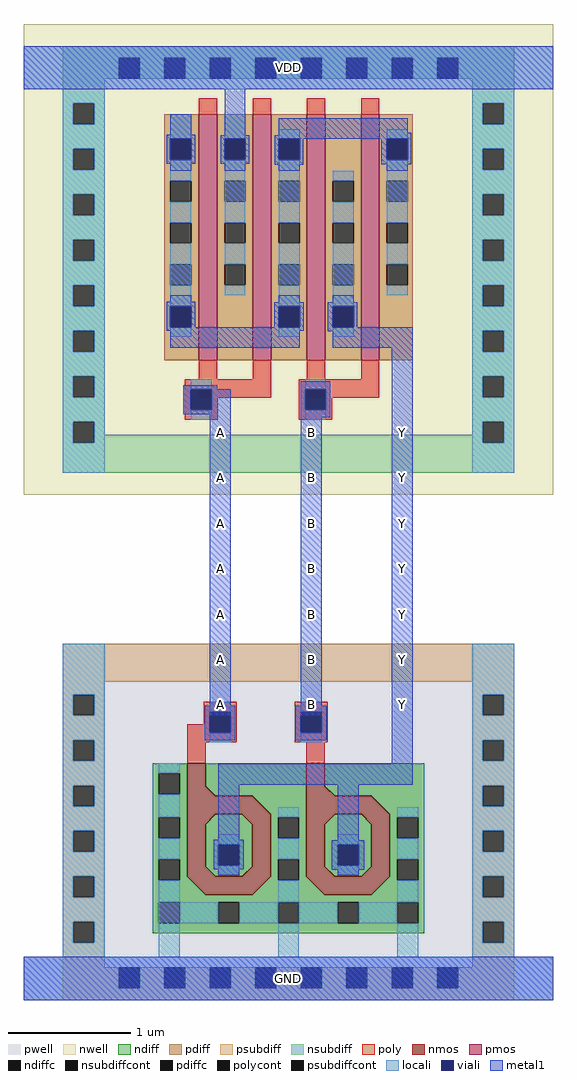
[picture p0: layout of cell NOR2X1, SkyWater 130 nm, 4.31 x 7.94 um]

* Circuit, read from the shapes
.subckt NOR2X1 Y A B VDD GND
XM1 GND A Y GND sky130_fd_pr__nfet_01v8 w=2.56 l=0.1469
XM2 GND B Y GND sky130_fd_pr__nfet_01v8 w=2.56 l=0.1474
XM3 VDD A n1 VDD sky130_fd_pr__pfet_01v8 w=2 l=0.15 m=2
XM4 Y B n1 VDD sky130_fd_pr__pfet_01v8 w=2 l=0.15 m=2
.ends

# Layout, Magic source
magic
tech sky130A
magscale 1 2
<< nwell >>
rect 0 1586 862 1588
rect 0 1572 12 1586
rect 0 1567 42 1572
rect 0 1474 57 1567
rect 850 1554 862 1586
rect 64 1549 798 1552
rect 155 1499 189 1533
rect 826 1482 862 1554
rect 0 1469 42 1474
rect 0 822 12 1469
rect 850 822 862 1482
<< pwell >>
rect 0 5 64 70
rect 155 19 189 53
rect 798 5 862 70
rect 0 0 862 5
<< psubdiff >>
rect 64 0 798 5
<< nsubdiff >>
rect 64 1549 798 1552
<< locali >>
rect 0 1482 862 1552
rect 0 0 862 70
<< metal1 >>
rect 0 1482 862 1552
rect 303 907 337 941
rect 451 907 485 941
rect 599 907 633 941
rect 303 833 337 867
rect 451 833 485 867
rect 599 833 633 867
rect 303 759 337 793
rect 451 759 485 793
rect 599 759 633 793
rect 303 685 337 719
rect 451 685 485 719
rect 599 685 633 719
rect 303 611 337 645
rect 451 611 485 645
rect 599 611 633 645
rect 303 537 337 571
rect 451 537 485 571
rect 599 537 633 571
rect 303 463 337 497
rect 451 463 485 497
rect 599 463 633 497
rect 0 0 862 70
use nor2x1_pcell  nor2x1_pcell_0
transform 1 0 98 0 1 36
box -87 -34 753 1550
<< labels >>
rlabel metal1 599 463 633 497 1 Y
port 1 nsew signal output
rlabel metal1 599 537 633 571 1 Y
port 1 nsew signal output
rlabel metal1 599 611 633 645 1 Y
port 1 nsew signal output
rlabel metal1 599 685 633 719 1 Y
port 1 nsew signal output
rlabel metal1 599 759 633 793 1 Y
port 1 nsew signal output
rlabel metal1 599 833 633 867 1 Y
port 1 nsew signal output
rlabel metal1 599 907 633 941 1 Y
port 1 nsew signal output
rlabel metal1 303 463 337 497 1 A
port 2 nsew signal input
rlabel metal1 303 537 337 571 1 A
port 2 nsew signal input
rlabel metal1 303 611 337 645 1 A
port 2 nsew signal input
rlabel metal1 303 685 337 719 1 A
port 2 nsew signal input
rlabel metal1 303 759 337 793 1 A
port 2 nsew signal input
rlabel metal1 303 833 337 867 1 A
port 2 nsew signal input
rlabel metal1 303 907 337 941 1 A
port 2 nsew signal input
rlabel metal1 451 463 485 497 1 B
port 3 nsew signal input
rlabel metal1 451 537 485 571 1 B
port 3 nsew signal input
rlabel metal1 451 611 485 645 1 B
port 3 nsew signal input
rlabel metal1 451 685 485 719 1 B
port 3 nsew signal input
rlabel metal1 451 759 485 793 1 B
port 3 nsew signal input
rlabel metal1 451 833 485 867 1 B
port 3 nsew signal input
rlabel metal1 451 907 485 941 1 B
port 3 nsew signal input
rlabel metal1 0 1482 862 1552 1 VDD
port 4 nsew power bidirectional abutment
rlabel metal1 0 0 862 70 1 GND
port 5 nsew power bidirectional abutment
<< properties >>
string FIXED_BBOX 0 0 862 1552
string LEFclass CORE
string LEFsite unitrh
string LEFsymmetry X Y
<< end >>

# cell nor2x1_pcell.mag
magic
tech sky130A
magscale 1 2
<< nwell >>
rect 87 786 579 1550
<< pwell >>
rect 34 -34 632 544
<< pdiff >>
rect 141 1043 175 1059
rect 317 1043 351 1050
rect 405 1043 439 1050
<< pdiffc >>
rect 141 1331 175 1365
rect 229 1331 263 1365
rect 317 1331 351 1365
rect 493 1331 527 1365
rect 141 1059 175 1093
rect 317 1059 351 1093
rect 405 1059 439 1093
<< psubdiff >>
rect 34 482 632 544
rect 34 -17 57 17
rect 91 -17 131 17
rect 165 -17 205 17
rect 239 -17 279 17
rect 313 -17 353 17
rect 387 -17 427 17
rect 461 -17 501 17
rect 535 -17 575 17
rect 609 -17 632 17
rect 34 -34 632 -17
<< nsubdiff >>
rect 34 1497 632 1514
rect 34 1463 57 1497
rect 91 1463 131 1497
rect 165 1463 205 1497
rect 239 1463 279 1497
rect 313 1463 353 1497
rect 387 1463 427 1497
rect 461 1463 501 1497
rect 535 1463 575 1497
rect 609 1463 632 1497
rect 34 822 632 884
<< psubdiffcont >>
rect 57 -17 91 17
rect 131 -17 165 17
rect 205 -17 239 17
rect 279 -17 313 17
rect 353 -17 387 17
rect 427 -17 461 17
rect 501 -17 535 17
rect 575 -17 609 17
<< nsubdiffcont >>
rect 57 1463 91 1497
rect 131 1463 165 1497
rect 205 1463 239 1497
rect 279 1463 313 1497
rect 353 1463 387 1497
rect 427 1463 461 1497
rect 501 1463 535 1497
rect 575 1463 609 1497
<< poly >>
rect 168 375 198 413
rect 362 382 392 383
<< locali >>
rect -34 1497 667 1514
rect -34 1463 57 1497
rect 91 1463 131 1497
rect 165 1463 205 1497
rect 239 1463 279 1497
rect 313 1463 353 1497
rect 387 1463 427 1497
rect 461 1463 501 1497
rect 535 1463 575 1497
rect 609 1463 667 1497
rect -34 1446 667 1463
rect 141 1365 175 1405
rect 141 1312 175 1331
rect 229 1365 263 1405
rect 229 1229 263 1331
rect 317 1365 351 1381
rect 317 1229 351 1331
rect 493 1365 527 1381
rect 493 1229 527 1331
rect 141 1093 175 1195
rect 141 1043 175 1059
rect 317 1093 351 1195
rect 317 1043 351 1059
rect 405 1093 439 1195
rect 405 1043 439 1059
rect 122 34 156 157
rect 316 34 350 89
rect 510 34 544 89
rect 33 17 657 34
rect 33 -17 57 17
rect 91 -17 131 17
rect 165 -17 205 17
rect 239 -17 279 17
rect 313 -17 353 17
rect 387 -17 427 17
rect 461 -17 501 17
rect 535 -17 575 17
rect 609 -17 657 17
rect 33 -34 657 -17
<< viali >>
rect 57 1463 91 1497
rect 131 1463 165 1497
rect 205 1463 239 1497
rect 279 1463 313 1497
rect 353 1463 387 1497
rect 427 1463 461 1497
rect 501 1463 535 1497
rect 575 1463 609 1497
rect 141 1331 175 1365
rect 229 1331 263 1365
rect 317 1331 351 1365
rect 493 1331 527 1365
rect 141 1059 175 1093
rect 317 1059 351 1093
rect 405 1059 439 1093
rect 174 924 208 958
rect 360 924 394 958
rect 205 399 239 433
rect 353 399 387 433
rect 219 183 253 217
rect 413 183 447 217
rect 57 -17 91 17
rect 131 -17 165 17
rect 205 -17 239 17
rect 279 -17 313 17
rect 353 -17 387 17
rect 427 -17 461 17
rect 501 -17 535 17
rect 575 -17 609 17
<< metal1 >>
rect 34 1497 632 1514
rect 34 1463 57 1497
rect 91 1463 131 1497
rect 165 1463 205 1497
rect 239 1463 279 1497
rect 313 1463 353 1497
rect 387 1463 427 1497
rect 461 1463 501 1497
rect 535 1463 575 1497
rect 609 1463 632 1497
rect 34 1446 632 1463
rect 141 1372 175 1405
rect 135 1365 181 1372
rect 229 1371 263 1446
rect 317 1375 527 1399
rect 317 1371 533 1375
rect 135 1331 141 1365
rect 175 1331 181 1365
rect 135 1325 181 1331
rect 223 1365 269 1371
rect 223 1331 229 1365
rect 263 1331 269 1365
rect 223 1325 269 1331
rect 311 1365 533 1371
rect 311 1331 317 1365
rect 351 1331 357 1365
rect 141 1313 175 1325
rect 229 1313 263 1325
rect 311 1323 357 1331
rect 484 1331 493 1365
rect 527 1331 533 1365
rect 484 1324 533 1331
rect 317 1313 351 1323
rect 493 1313 527 1324
rect 141 1100 175 1111
rect 135 1093 181 1100
rect 317 1099 351 1111
rect 405 1099 439 1111
rect 135 1059 141 1093
rect 175 1059 181 1093
rect 310 1093 358 1099
rect 310 1059 317 1093
rect 351 1059 358 1093
rect 135 1053 358 1059
rect 397 1093 445 1099
rect 397 1059 405 1093
rect 439 1059 445 1093
rect 141 1025 351 1053
rect 397 1052 535 1059
rect 405 1025 535 1052
rect 162 958 217 964
rect 353 958 401 971
rect 162 924 174 958
rect 208 924 239 958
rect 162 917 239 924
rect 205 443 239 917
rect 353 924 360 958
rect 394 924 401 958
rect 353 912 401 924
rect 353 443 387 912
rect 197 433 246 443
rect 197 399 205 433
rect 239 399 246 433
rect 197 387 246 399
rect 344 433 395 443
rect 344 399 353 433
rect 387 399 395 433
rect 344 387 395 399
rect 501 348 535 1025
rect 219 314 535 348
rect 219 225 253 314
rect 211 217 260 225
rect 413 224 447 314
rect 211 183 219 217
rect 253 183 260 217
rect 211 177 260 183
rect 403 217 456 224
rect 403 183 413 217
rect 447 183 456 217
rect 219 167 253 177
rect 403 176 456 183
rect 413 167 447 176
rect 34 17 632 34
rect 34 -17 57 17
rect 91 -17 131 17
rect 165 -17 205 17
rect 239 -17 279 17
rect 313 -17 353 17
rect 387 -17 427 17
rect 461 -17 501 17
rect 535 -17 575 17
rect 609 -17 632 17
rect 34 -34 632 -17
use diff_ring_side  diff_ring_side_0
transform 1 0 666 0 1 0
box -87 -34 87 1550
use diff_ring_side  diff_ring_side_1
transform 1 0 0 0 1 0
box -87 -34 87 1550
use nmos_top_trim1  nmos_top_trim1_1
transform -1 0 360 0 1 73
box 0 0 248 309
use nmos_top_trim2  nmos_top_trim2_0
transform -1 0 554 0 1 73
box 0 0 248 309
use pmos2_1  pmos2_1_0
transform 1 0 43 0 1 1404
box 52 -460 352 37
use pmos2_1  pmos2_1_1
transform 1 0 219 0 1 1404
box 52 -460 352 37
use poly_li1_contact  poly_li1_contact_0
transform 0 1 192 -1 0 942
box -32 -28 34 26
use poly_li1_contact  poly_li1_contact_1
transform 0 1 223 -1 0 417
box -32 -28 34 26
use poly_li1_contact  poly_li1_contact_2
transform 0 -1 369 1 0 415
box -32 -28 34 26
use poly_li1_contact  poly_li1_contact_3
transform 0 1 378 -1 0 942
box -32 -28 34 26
<< end >>

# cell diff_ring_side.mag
magic
tech sky130A
magscale 1 2
<< nwell >>
rect -87 786 87 1550
<< pwell >>
rect -34 -34 34 544
<< psubdiff >>
rect -34 461 34 544
rect -34 427 -17 461
rect 17 427 34 461
rect -34 387 34 427
rect -34 353 -17 387
rect 17 353 34 387
rect -34 313 34 353
rect -34 279 -17 313
rect 17 279 34 313
rect -34 239 34 279
rect -34 205 -17 239
rect 17 205 34 239
rect -34 165 34 205
rect -34 131 -17 165
rect 17 131 34 165
rect -34 91 34 131
rect -34 57 -17 91
rect 17 57 34 91
rect -34 -34 34 57
<< nsubdiff >>
rect -34 1423 34 1514
rect -34 1389 -17 1423
rect 17 1389 34 1423
rect -34 1349 34 1389
rect -34 1315 -17 1349
rect 17 1315 34 1349
rect -34 1275 34 1315
rect -34 1241 -17 1275
rect 17 1241 34 1275
rect -34 1201 34 1241
rect -34 1167 -17 1201
rect 17 1167 34 1201
rect -34 1127 34 1167
rect -34 1093 -17 1127
rect 17 1093 34 1127
rect -34 1053 34 1093
rect -34 1019 -17 1053
rect 17 1019 34 1053
rect -34 979 34 1019
rect -34 945 -17 979
rect 17 945 34 979
rect -34 905 34 945
rect -34 871 -17 905
rect 17 871 34 905
rect -34 822 34 871
<< psubdiffcont >>
rect -17 427 17 461
rect -17 353 17 387
rect -17 279 17 313
rect -17 205 17 239
rect -17 131 17 165
rect -17 57 17 91
<< nsubdiffcont >>
rect -17 1389 17 1423
rect -17 1315 17 1349
rect -17 1241 17 1275
rect -17 1167 17 1201
rect -17 1093 17 1127
rect -17 1019 17 1053
rect -17 945 17 979
rect -17 871 17 905
<< locali >>
rect -34 1423 34 1514
rect -34 1389 -17 1423
rect 17 1389 34 1423
rect -34 1349 34 1389
rect -34 1315 -17 1349
rect 17 1315 34 1349
rect -34 1275 34 1315
rect -34 1241 -17 1275
rect 17 1241 34 1275
rect -34 1201 34 1241
rect -34 1167 -17 1201
rect 17 1167 34 1201
rect -34 1127 34 1167
rect -34 1093 -17 1127
rect 17 1093 34 1127
rect -34 1053 34 1093
rect -34 1019 -17 1053
rect 17 1019 34 1053
rect -34 979 34 1019
rect -34 945 -17 979
rect 17 945 34 979
rect -34 905 34 945
rect -34 871 -17 905
rect 17 871 34 905
rect -34 822 34 871
rect -34 461 34 544
rect -34 427 -17 461
rect 17 427 34 461
rect -34 387 34 427
rect -34 353 -17 387
rect 17 353 34 387
rect -34 313 34 353
rect -34 279 -17 313
rect 17 279 34 313
rect -34 239 34 279
rect -34 205 -17 239
rect 17 205 34 239
rect -34 165 34 205
rect -34 131 -17 165
rect 17 131 34 165
rect -34 91 34 131
rect -34 57 -17 91
rect 17 57 34 91
rect -34 -34 34 57
<< metal1 >>
rect -34 1446 34 1514
rect -34 -34 34 34
<< end >>

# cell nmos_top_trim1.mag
magic
tech sky130
magscale 1 2
<< nmos >>
tri 146 223 162 239 se
rect 162 223 192 276
tri 56 193 86 223 se
rect 86 193 192 223
rect 56 92 86 193
tri 86 177 102 193 nw
tri 146 177 162 193 ne
tri 86 92 102 108 sw
tri 146 92 162 108 se
rect 162 92 192 193
tri 56 62 86 92 ne
rect 86 62 162 92
tri 162 62 192 92 nw
<< ndiff >>
rect 0 239 162 276
rect 0 223 146 239
tri 146 223 162 239 nw
rect 192 260 248 276
rect 192 226 204 260
rect 238 226 248 260
rect 0 188 56 223
tri 56 193 86 223 nw
rect 0 154 10 188
rect 44 154 56 188
rect 0 120 56 154
rect 0 86 10 120
rect 44 86 56 120
tri 86 177 102 193 se
rect 102 177 146 193
tri 146 177 162 193 sw
rect 86 144 162 177
rect 86 110 107 144
rect 141 110 162 144
rect 86 108 162 110
tri 86 92 102 108 ne
rect 102 92 146 108
tri 146 92 162 108 nw
rect 192 188 248 226
rect 192 154 204 188
rect 238 154 248 188
rect 192 120 248 154
rect 0 62 56 86
tri 56 62 86 92 sw
tri 162 62 192 92 se
rect 192 86 204 120
rect 238 86 248 120
rect 192 62 248 86
rect 0 50 248 62
rect 0 16 10 50
rect 44 16 107 50
rect 141 16 204 50
rect 238 16 248 50
rect 0 0 248 16
<< ndiffc >>
rect 204 226 238 260
rect 10 154 44 188
rect 10 86 44 120
rect 107 110 141 144
rect 204 154 238 188
rect 204 86 238 120
rect 10 16 44 50
rect 107 16 141 50
rect 204 16 238 50
<< poly >>
rect 162 276 192 309
<< locali >>
rect 204 260 238 276
rect 10 188 44 204
rect 204 188 238 226
rect 10 120 44 154
rect 107 144 141 161
rect 107 94 141 110
rect 204 120 238 154
rect 10 50 44 86
rect 204 50 238 86
rect 44 16 107 50
rect 141 16 204 50
rect 10 0 44 16
rect 204 0 238 16
<< end >>

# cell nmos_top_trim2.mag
magic
tech sky130
magscale 1 2
<< nmos >>
tri 146 223 162 239 se
rect 162 223 192 276
tri 56 193 86 223 se
rect 86 193 192 223
rect 56 178 87 193
tri 87 178 102 193 nw
tri 146 178 161 193 ne
rect 161 178 192 193
rect 56 92 86 178
tri 86 92 102 108 sw
tri 146 92 162 108 se
rect 162 92 192 178
tri 56 62 86 92 ne
rect 86 62 162 92
tri 162 62 192 92 nw
<< ndiff >>
rect 0 239 162 276
rect 0 223 146 239
tri 146 223 162 239 nw
rect 0 188 56 223
tri 56 193 86 223 nw
rect 0 154 10 188
rect 44 154 56 188
tri 87 178 102 193 se
rect 102 178 146 193
tri 146 178 161 193 sw
rect 192 188 248 276
rect 0 120 56 154
rect 0 86 10 120
rect 44 86 56 120
rect 86 144 162 178
rect 86 110 107 144
rect 141 110 162 144
rect 86 108 162 110
tri 86 92 102 108 ne
rect 102 92 146 108
tri 146 92 162 108 nw
rect 192 154 204 188
rect 238 154 248 188
rect 192 120 248 154
rect 0 62 56 86
tri 56 62 86 92 sw
tri 162 62 192 92 se
rect 192 86 204 120
rect 238 86 248 120
rect 192 62 248 86
rect 0 50 248 62
rect 0 16 10 50
rect 44 16 107 50
rect 141 16 204 50
rect 238 16 248 50
rect 0 0 248 16
<< ndiffc >>
rect 10 154 44 188
rect 10 86 44 120
rect 107 110 141 144
rect 204 154 238 188
rect 204 86 238 120
rect 10 16 44 50
rect 107 16 141 50
rect 204 16 238 50
<< poly >>
rect 162 276 192 309
<< locali >>
rect 10 188 44 205
rect 204 188 238 205
rect 10 120 44 154
rect 107 144 141 161
rect 107 94 141 110
rect 204 120 238 154
rect 10 50 44 86
rect 204 50 238 86
rect 44 16 107 50
rect 141 16 204 50
rect 10 0 44 16
rect 204 0 238 16
<< end >>

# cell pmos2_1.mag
magic
tech sky130A
magscale 1 2
<< nwell >>
rect 52 -435 352 37
<< pmos >>
rect 144 -399 174 1
rect 232 -399 262 1
<< pdiff >>
rect 88 -107 144 1
rect 88 -141 98 -107
rect 132 -141 144 -107
rect 88 -175 144 -141
rect 88 -209 98 -175
rect 132 -209 144 -175
rect 88 -243 144 -209
rect 88 -277 98 -243
rect 132 -277 144 -243
rect 88 -399 144 -277
rect 174 -107 232 1
rect 174 -141 186 -107
rect 220 -141 232 -107
rect 174 -175 232 -141
rect 174 -209 186 -175
rect 220 -209 232 -175
rect 174 -243 232 -209
rect 174 -277 186 -243
rect 220 -277 232 -243
rect 174 -399 232 -277
rect 262 -107 316 1
rect 262 -141 274 -107
rect 308 -141 316 -107
rect 262 -175 316 -141
rect 262 -209 274 -175
rect 308 -209 316 -175
rect 262 -243 316 -209
rect 262 -277 274 -243
rect 308 -277 316 -243
rect 262 -399 316 -277
<< pdiffc >>
rect 98 -141 132 -107
rect 98 -209 132 -175
rect 98 -277 132 -243
rect 186 -141 220 -107
rect 186 -209 220 -175
rect 186 -277 220 -243
rect 274 -141 308 -107
rect 274 -209 308 -175
rect 274 -277 308 -243
<< poly >>
rect 144 1 174 27
rect 232 1 262 27
rect 144 -430 174 -399
rect 232 -430 262 -399
rect 144 -460 262 -430
<< locali >>
rect 98 -107 132 -91
rect 98 -175 132 -141
rect 98 -243 132 -209
rect 98 -293 132 -277
rect 186 -107 220 -91
rect 186 -175 220 -141
rect 186 -243 220 -209
rect 186 -293 220 -277
rect 274 -107 308 -91
rect 274 -175 308 -141
rect 274 -243 308 -209
rect 274 -293 308 -277
<< end >>

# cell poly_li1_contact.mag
magic
tech sky130
<< poly >>
rect -16 8 17 13
rect -16 -9 -8 8
rect 9 -9 17 8
rect -16 -14 17 -9
<< polycont >>
rect -8 -9 9 8
<< locali >>
rect -16 -9 -8 8
rect 9 -9 17 8
<< end >>
